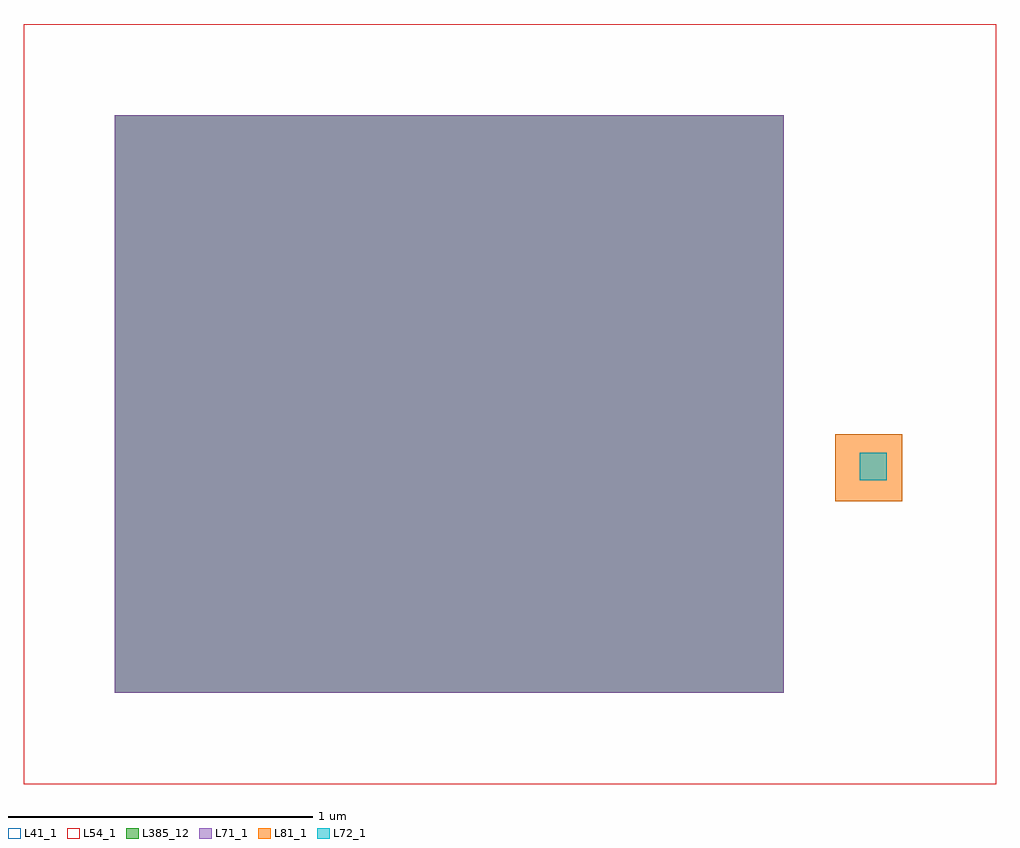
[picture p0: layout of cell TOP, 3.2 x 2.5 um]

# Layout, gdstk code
import gdstk
lib = gdstk.Library(unit=1e-6, precision=1e-09)
def R(c, l, rs):  # rectangles x0, y0, x1, y1
    for r in rs: c.add(gdstk.rectangle(r[:2], r[2:], *l))
L41_1 = (41, 1)
L54_1 = (54, 1)
L71_1 = (71, 1)
L72_1 = (72, 1)
L81_1 = (81, 1)
L385_12 = (385, 12)

top = lib.new_cell('TOP')
R(top, L41_1, [(0,0,3.2,2.5)])
R(top, L54_1, [(0,0,3.2,2.5)])
R(top, L71_1, [(0.3,0.3,2.5,2.2)])
R(top, L72_1, [(2.75,1,2.84,1.09)])
R(top, L81_1, [(2.67,0.93,2.89,1.15)])
R(top, L385_12, [(0.3,0.3,2.5,2.2)])

lib.write_gds('TOP.gds')
